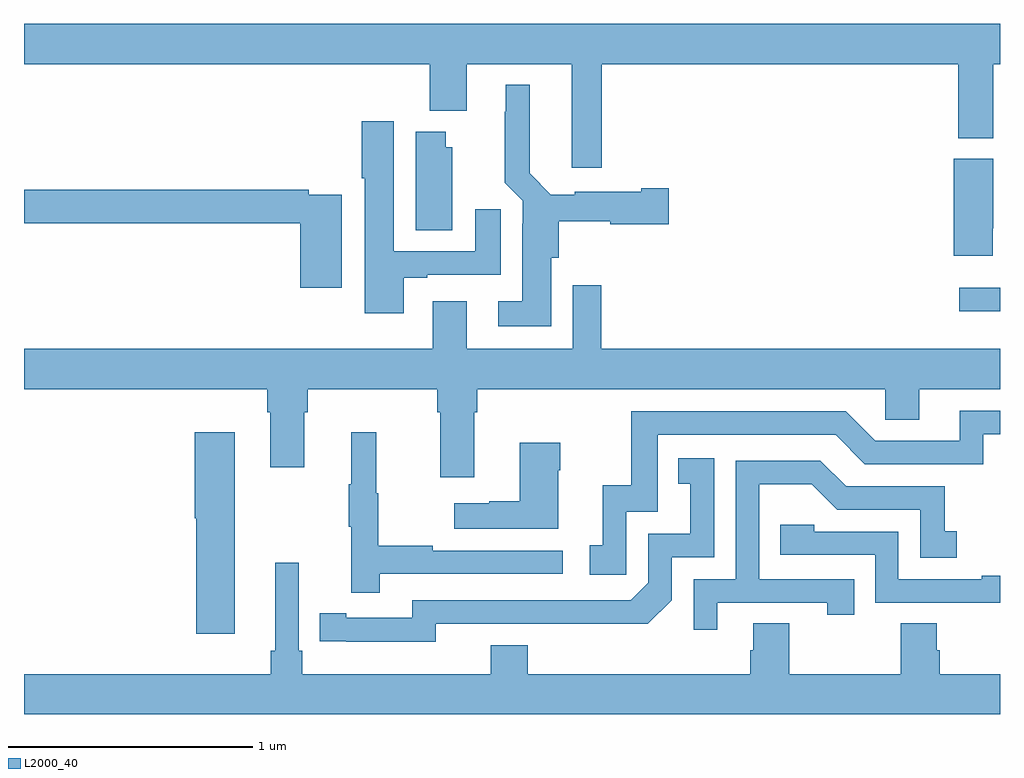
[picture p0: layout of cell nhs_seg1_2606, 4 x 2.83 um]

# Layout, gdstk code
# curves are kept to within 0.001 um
import gdstk
lib = gdstk.Library(unit=1e-6, precision=1e-09)
def R(c, l, rs):  # rectangles x0, y0, x1, y1
    for r in rs: c.add(gdstk.rectangle(r[:2], r[2:], *l))
def P(c, l, *ps):  # polygons
    for p in ps: c.add(gdstk.Polygon(p, *l))
L2000_40 = (2000, 40)

nhs_seg1_2606 = lib.new_cell('nhs_seg1_2606')
R(nhs_seg1_2606, L2000_40, [(256.833,518.75,257,518.848)])
P(nhs_seg1_2606, L2000_40, [(253,519.764),(254.663,519.764),(254.663,519.572),(254.815,519.572),(254.815,519.764),(255.245,519.764),(255.245,519.339),(255.368,519.339),(255.368,519.764),(256.829,519.764),(256.829,519.46),(256.972,519.46),(256.972,519.764),(257,519.764),(257,519.928),(253,519.928)],
  [(255.16,518.97),(255.191,518.97),(255.191,519.119),(255.402,519.119),(255.402,519.107),(255.643,519.107),(255.643,519.254),(255.53,519.254),(255.53,519.241),(255.258,519.241),(255.258,519.229),(255.159,519.229),(255.073,519.316),(255.073,519.679),(254.975,519.679),(254.975,519.569),(254.971,519.569),(254.971,519.278),(255.045,519.204),(255.045,519.11),(255.041,519.11),(255.041,518.791),(254.943,518.791),(254.943,518.69),(255.16,518.69)],
  [(254.557,518.889),(254.653,518.889),(254.653,518.901),(254.953,518.901),(254.953,519.169),(254.849,519.169),(254.849,518.997),(254.515,518.997),(254.515,519.529),(254.384,519.529),(254.384,519.295),(254.396,519.295),(254.396,518.742),(254.557,518.742)],
  [(254.755,519.423),(254.728,519.423),(254.728,519.487),(254.606,519.487),(254.606,519.082),(254.755,519.082)],
  [(256.971,519.091),(256.972,519.091),(256.972,519.375),(256.811,519.375),(256.811,518.979),(256.971,518.979)],
  [(254.302,519.228),(254.168,519.228),(254.168,519.248),(253,519.248),(253,519.112),(254.132,519.112),(254.132,518.847),(254.302,518.847)],
  [(254.845,518.336),(254.858,518.336),(254.858,518.432),(256.53,518.432),(256.53,518.305),(256.669,518.305),(256.669,518.432),(257,518.432),(257,518.596),(255.365,518.596),(255.365,518.857),(255.249,518.857),(255.249,518.596),(254.815,518.596),(254.815,518.791),(254.675,518.791),(254.675,518.596),(253,518.596),(253,518.432),(253.997,518.432),(253.997,518.336),(254.009,518.336),(254.009,518.112),(254.149,518.112),(254.149,518.336),(254.162,518.336),(254.162,518.432),(254.693,518.432),(254.693,518.336),(254.705,518.336),(254.705,518.07),(254.845,518.07)],
  [(255.468,517.929),(255.597,517.929),(255.597,518.244),(256.326,518.244),(256.446,518.124),(256.932,518.124),(256.932,518.247),(257,518.247),(257,518.343),(256.835,518.343),(256.835,518.22),(256.488,518.22),(256.368,518.34),(255.489,518.34),(255.489,518.038),(255.371,518.038),(255.371,517.791),(255.318,517.791),(255.318,517.671),(255.468,517.671)],
  [(253.864,518.254),(253.7,518.254),(253.7,517.902),(253.706,517.902),(253.706,517.428),(253.864,517.428)],
  [(254.459,517.674),(255.208,517.674),(255.208,517.77),(254.675,517.77),(254.675,517.79),(254.452,517.79),(254.452,518.004),(254.444,518.004),(254.444,518.254),(254.342,518.254),(254.342,518.041),(254.331,518.041),(254.331,517.867),(254.342,517.867),(254.342,517.596),(254.459,517.596)],
  [(255.19,518.099),(255.198,518.099),(255.198,518.212),(255.032,518.212),(255.032,517.973),(254.906,517.973),(254.906,517.963),(254.763,517.963),(254.763,517.859),(255.19,517.859)],
  [(254.688,517.47),(255.556,517.469),(255.654,517.566),(255.654,517.743),(255.828,517.743),(255.828,518.149),(255.682,518.149),(255.682,518.043),(255.731,518.043),(255.731,517.839),(255.558,517.839),(255.558,517.638),(255.486,517.566),(254.592,517.566),(254.592,517.494),(254.32,517.494),(254.32,517.514),(254.212,517.514),(254.212,517.398),(254.688,517.397)],
  [(255.841,517.557),(256.292,517.557),(256.292,517.506),(256.403,517.506),(256.403,517.653),(256.014,517.653),(256.014,518.042),(256.228,518.042),(256.332,517.938),(256.674,517.938),(256.674,517.74),(256.822,517.74),(256.822,517.849),(256.773,517.849),(256.773,518.034),(256.369,518.034),(256.264,518.139),(255.918,518.139),(255.918,517.653),(255.744,517.653),(255.744,517.446),(255.841,517.446)],
  [(257,517.666),(256.925,517.666),(256.925,517.653),(256.584,517.653),(256.584,517.848),(256.239,517.848),(256.239,517.875),(256.099,517.875),(256.099,517.752),(256.488,517.752),(256.488,517.557),(257,517.557)],
  [(257,517.264),(256.754,517.264),(256.754,517.362),(256.741,517.362),(256.741,517.472),(256.594,517.472),(256.594,517.264),(256.137,517.264),(256.137,517.472),(255.989,517.472),(255.989,517.362),(255.977,517.362),(255.977,517.264),(255.065,517.264),(255.065,517.381),(254.912,517.381),(254.912,517.264),(254.141,517.264),(254.141,517.36),(254.127,517.36),(254.127,517.72),(254.03,517.72),(254.03,517.36),(254.011,517.36),(254.011,517.264),(253,517.264),(253,517.1),(257,517.1)])

lib.write_gds('nhs_seg1_2606.gds')
